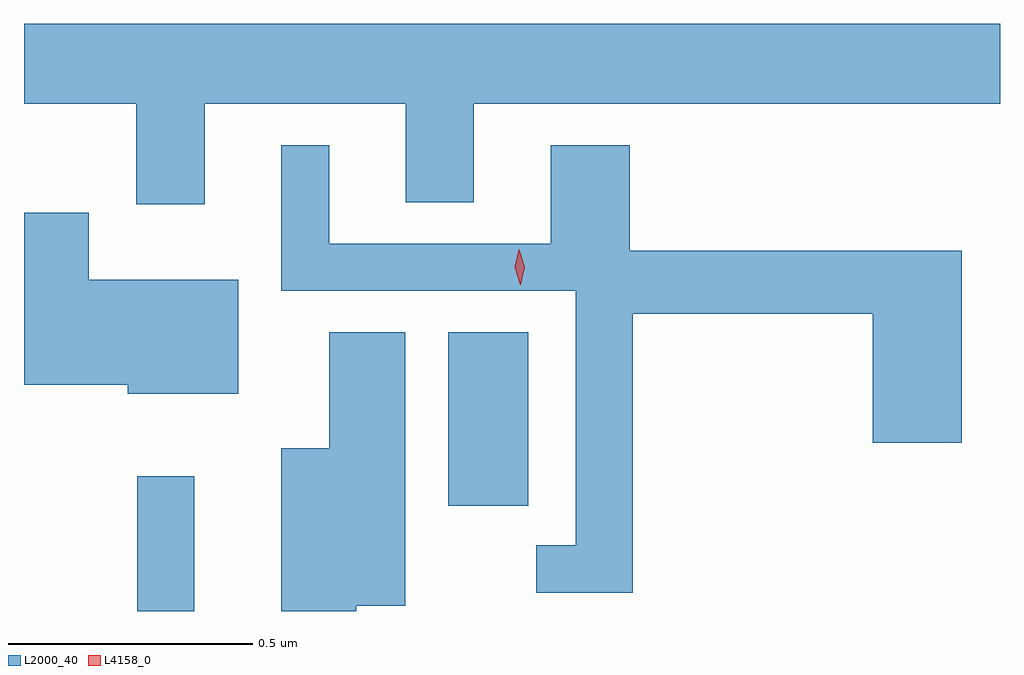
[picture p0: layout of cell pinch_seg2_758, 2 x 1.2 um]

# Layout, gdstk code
import gdstk
lib = gdstk.Library(unit=1e-6, precision=1e-09)
def R(c, l, rs):  # rectangles x0, y0, x1, y1
    for r in rs: c.add(gdstk.rectangle(r[:2], r[2:], *l))
def P(c, l, *ps):  # polygons
    for p in ps: c.add(gdstk.Polygon(p, *l))
L2000_40 = (2000, 40)
L4158_0 = (4158, 0)

pinch_seg2_758 = lib.new_cell('pinch_seg2_758')
R(pinch_seg2_758, L2000_40, [(869.119,631.944,869.236,632.221), (869.756,632.16,869.92,632.516)])
P(pinch_seg2_758, L2000_40, [(869.257,632.984),(869.669,632.984),(869.669,632.782),(869.809,632.782),(869.809,632.984),(870.887,632.984),(870.887,633.148),(868.887,633.148),(868.887,632.984),(869.117,632.984),(869.117,632.778),(869.257,632.778)],
  [(870.134,632.554),(870.626,632.554),(870.626,632.289),(870.809,632.289),(870.809,632.683),(870.128,632.683),(870.128,632.899),(869.966,632.899),(869.966,632.697),(869.512,632.697),(869.512,632.899),(869.414,632.899),(869.414,632.601),(870.018,632.601),(870.018,632.079),(869.937,632.079),(869.937,631.982),(870.134,631.982)],
  [(869.326,632.623),(869.02,632.623),(869.02,632.761),(868.887,632.761),(868.887,632.408),(869.1,632.408),(869.1,632.39),(869.326,632.39)],
  [(869.568,631.955),(869.668,631.955),(869.668,632.516),(869.513,632.516),(869.513,632.278),(869.414,632.278),(869.414,631.944),(869.568,631.944)])
P(pinch_seg2_758, L4158_0, [(869.904,632.613),(869.904,632.613),(869.893,632.649),(869.901,632.685),(869.901,632.686),(869.902,632.685),(869.913,632.65),(869.905,632.613)])

lib.write_gds('pinch_seg2_758.gds')
